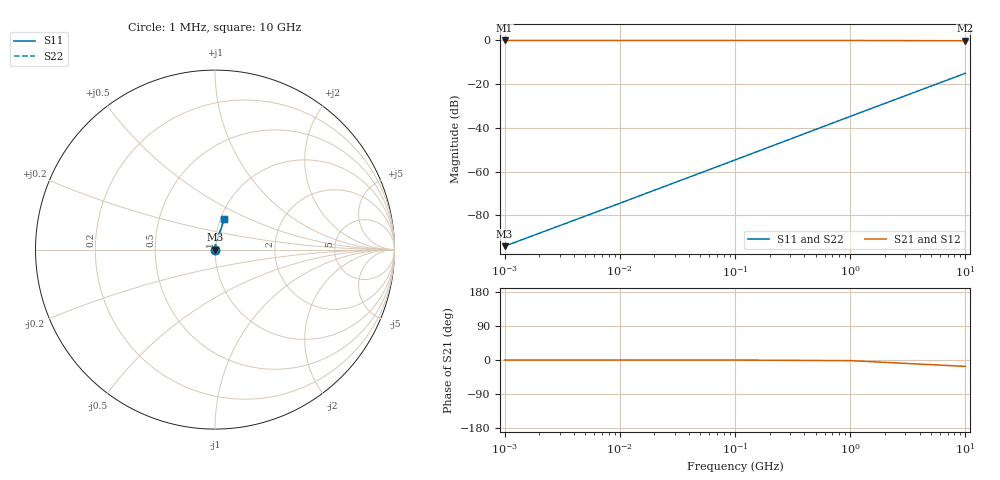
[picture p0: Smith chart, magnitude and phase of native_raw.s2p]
! Sonnet Data File
! From: em Version : 18.53-Lite
! From Project: arr_cu100
! Data is NOT De-embedded
! Data File Written: 10/11/2026 13:49:09
!< HDATE 10/11/2026 13:49:09
!< MDATE 10/11/2026 13:49:09
# GHZ S RI R 50.00000
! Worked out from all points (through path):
!   5 points, 1 MHz to 10 GHz, reference 50 ohm
!   highest |S21| = 0.00 dB at 1 MHz (marker M1); lowest = -0.1 dB at 10 GHz (marker M2)
!   lowest |S11| = -94.1 dB at 1 MHz (marker M3), VSWR 1.00, Z = 50 + j0.00197 ohm
!   |S11| at or under -10 dB: start of sweep to end of sweep
!   |S22| runs from -94.1 to -15.0 dB; largest |S21 - S12| = 4.7e-12
0.001  1.96e-06 1.97e-05  1 -3.11e-05  1 -3.11e-05  1.96e-06 1.97e-05
0.01  5.69e-06 0.00019  1 -0.000304  1 -0.000304  5.69e-06 0.00019
0.1  2.63e-05 0.00185  1 -0.00299  1 -0.00299  2.63e-05 0.00185
1  0.000619 0.0183  0.9993 -0.0297  0.9993 -0.0297  0.000619 0.0183
10  0.0517 0.1704  0.9417 -0.2846  0.9417 -0.2846  0.0517 0.1704
